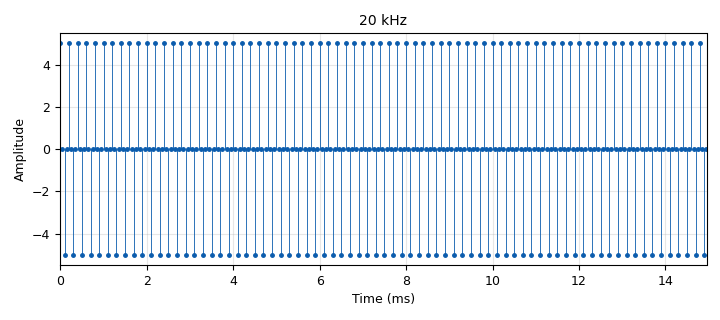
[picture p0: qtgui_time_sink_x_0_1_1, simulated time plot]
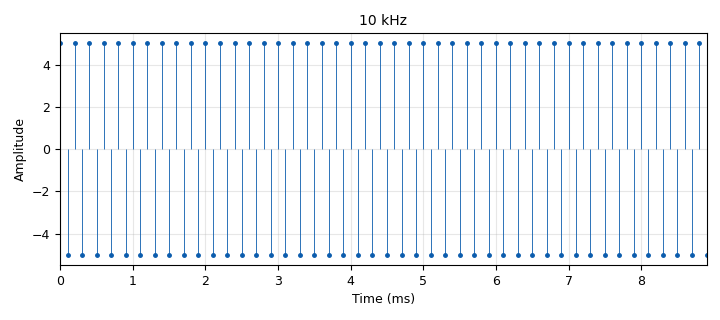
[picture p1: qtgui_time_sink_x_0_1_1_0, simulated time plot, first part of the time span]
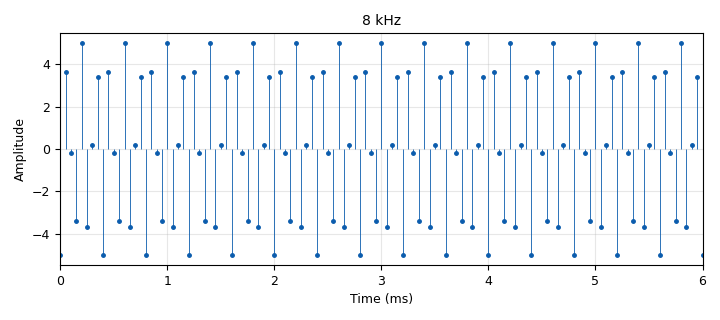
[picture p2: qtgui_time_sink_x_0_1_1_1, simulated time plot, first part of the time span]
options:
  parameters:
    author: lu
    generate_options: qt_gui
    id: gnu_02
    output_language: python
    title: Not titled yet
  states: {}

blocks:
- name: samp_rate
  id: variable
  parameters:
    value: '10000'
  states: {}
- name: analog_sig_source_x_0
  id: analog_sig_source_x
  parameters:
    amp: '5'
    freq: '5000'
    offset: '0'
    phase: '0'
    samp_rate: samp_rate
    type: float
    waveform: analog.GR_COS_WAVE
  states: {}
- name: analog_sig_source_x_0_0
  id: analog_sig_source_x
  parameters:
    amp: '5'
    freq: '5000'
    offset: '0'
    phase: '0'
    samp_rate: samp_rate*2
    type: float
    waveform: analog.GR_COS_WAVE
  states: {}
- name: analog_sig_source_x_0_1
  id: analog_sig_source_x
  parameters:
    amp: '5'
    freq: '5000'
    offset: '0'
    phase: '0'
    samp_rate: samp_rate*0.8
    type: float
    waveform: analog.GR_COS_WAVE
  states: {}
- name: blocks_throttle2_0
  id: blocks_throttle2
  parameters:
    samples_per_second: samp_rate
    type: float
  states: {}
- name: blocks_throttle2_0_0
  id: blocks_throttle2
  parameters:
    samples_per_second: samp_rate*2
    type: float
  states: {}
- name: blocks_throttle2_0_1
  id: blocks_throttle2
  parameters:
    samples_per_second: samp_rate*0.8
    type: float
  states: {}
- name: qtgui_time_sink_x_0_1_1
  id: qtgui_time_sink_x
  parameters:
    autoscale: 'True'
    name: '"20 kHz"'
    size: '300'
    srate: samp_rate*2
    stemplot: 'True'
    type: float
  states: {}
- name: qtgui_time_sink_x_0_1_1_0
  id: qtgui_time_sink_x
  parameters:
    autoscale: 'True'
    name: '"10 kHz"'
    size: '300'
    srate: samp_rate
    stemplot: 'True'
    type: float
  states: {}
- name: qtgui_time_sink_x_0_1_1_1
  id: qtgui_time_sink_x
  parameters:
    autoscale: 'True'
    name: '"8 kHz"'
    size: '300'
    srate: samp_rate*2
    stemplot: 'True'
    type: float
  states: {}

connections:
- [analog_sig_source_x_0, '0', blocks_throttle2_0, '0']
- [analog_sig_source_x_0_0, '0', blocks_throttle2_0_0, '0']
- [analog_sig_source_x_0_1, '0', blocks_throttle2_0_1, '0']
- [blocks_throttle2_0, '0', qtgui_time_sink_x_0_1_1_0, '0']
- [blocks_throttle2_0_0, '0', qtgui_time_sink_x_0_1_1, '0']
- [blocks_throttle2_0_1, '0', qtgui_time_sink_x_0_1_1_1, '0']

metadata:
  file_format: 1
  grc_version: 3.10.9.2
